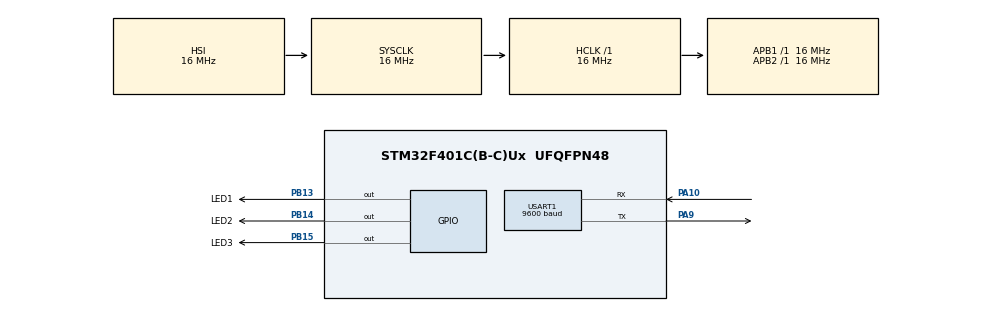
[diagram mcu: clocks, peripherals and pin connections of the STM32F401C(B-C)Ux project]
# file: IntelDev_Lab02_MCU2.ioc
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Mcu.Family=STM32F4
Mcu.Name=STM32F401C(B-C)Ux
Mcu.Package=UFQFPN48
NVIC.PriorityGroup=NVIC_PRIORITYGROUP_4
NVIC.USART1_IRQn=true\:0\:0\:false\:false\:true\:true\:true\:true
PA10.Mode=Asynchronous
PA10.Signal=USART1_RX
PA13.Mode=Serial_Wire
PA13.Signal=SYS_JTMS-SWDIO
PA14.Mode=Serial_Wire
PA14.Signal=SYS_JTCK-SWCLK
PA9.Mode=Asynchronous
PA9.Signal=USART1_TX
PB13.GPIO_Label=LED1
PB13.Signal=GPIO_Output
PB14.GPIO_Label=LED2
PB14.Signal=GPIO_Output
PB15.GPIO_Label=LED3
PB15.Signal=GPIO_Output
ProjectManager.HeapSize=0x200
ProjectManager.StackSize=0x400
ProjectManager.TargetToolchain=STM32CubeIDE
RCC.AHBFreq_Value=16000000
RCC.APB1Freq_Value=16000000
RCC.APB2Freq_Value=16000000
RCC.CortexFreq_Value=16000000
RCC.HSE_VALUE=25000000
RCC.HSI_VALUE=16000000
RCC.LSE_VALUE=32768
RCC.SYSCLKFreq_VALUE=16000000
RCC.VCOOutputFreq_Value=192000000
USART1.BaudRate=9600
USART1.VirtualMode=VM_ASYNC
board=custom

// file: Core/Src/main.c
/* USER CODE BEGIN Header */
/**
  ******************************************************************************
  * @file           : main.c
  * @brief          : Main program body
  ******************************************************************************
  * @attention
  *
  * Copyright (c) 2023 STMicroelectronics.
  * All rights reserved.
  *
  * This software is licensed under terms that can be found in the LICENSE file
  * in the root directory of this software component.
  * If no LICENSE file comes with this software, it is provided AS-IS.
  *
  ******************************************************************************
  */
/* USER CODE END Header */
#include "main.h"

/* USER CODE BEGIN Includes */
#include "ringbuffer.h"
/* USER CODE END Includes */

/* USER CODE BEGIN PD */
#define BUFF_SIZE 32
/* USER CODE END PD */

 UART_HandleTypeDef huart1;

/* USER CODE BEGIN PV */
 uint8_t rx1[1] = {'\0',};
 uint8_t tx1[1] = {'\0',};
 RingBuffer txBuf;
 uint8_t buffer[BUFF_SIZE];
 int length = 0;
/* USER CODE END PV */

void SystemClock_Config(void);
static void MX_GPIO_Init(void);
static void MX_USART1_UART_Init(void);

int main(void)
{

  /* MCU Configuration--------------------------------------------------------*/

  /* Reset of all peripherals, Initializes the Flash interface and the Systick. */
  HAL_Init();

  /* Configure the system clock */
  SystemClock_Config();

  /* Initialize all configured peripherals */
  MX_GPIO_Init();
  MX_USART1_UART_Init();

  /* Infinite loop */
  /* USER CODE BEGIN WHILE */
  HAL_UART_Receive_IT(&huart1, rx1, sizeof(rx1));
  while (1)
  {
    /* USER CODE END WHILE */

    /* USER CODE BEGIN 3 */
	  if(huart1.RxState == HAL_UART_STATE_READY)
	  {
		  HAL_UART_Receive_IT(&huart1, rx1, sizeof(rx1));
	  }
  }
  /* USER CODE END 3 */
}

void SystemClock_Config(void)
{
  RCC_OscInitTypeDef RCC_OscInitStruct = {0};
  RCC_ClkInitTypeDef RCC_ClkInitStruct = {0};

  /** Configure the main internal regulator output voltage
  */
  __HAL_RCC_PWR_CLK_ENABLE();
  __HAL_PWR_VOLTAGESCALING_CONFIG(PWR_REGULATOR_VOLTAGE_SCALE2);

  /** Initializes the RCC Oscillators according to the specified parameters
  * in the RCC_OscInitTypeDef structure.
  */
  RCC_OscInitStruct.OscillatorType = RCC_OSCILLATORTYPE_HSI;
  RCC_OscInitStruct.HSIState = RCC_HSI_ON;
  RCC_OscInitStruct.HSICalibrationValue = RCC_HSICALIBRATION_DEFAULT;
  RCC_OscInitStruct.PLL.PLLState = RCC_PLL_NONE;
  if (HAL_RCC_OscConfig(&RCC_OscInitStruct) != HAL_OK)
  {
    Error_Handler();
  }

  /** Initializes the CPU, AHB and APB buses clocks
  */
  RCC_ClkInitStruct.ClockType = RCC_CLOCKTYPE_HCLK|RCC_CLOCKTYPE_SYSCLK
                              |RCC_CLOCKTYPE_PCLK1|RCC_CLOCKTYPE_PCLK2;
  RCC_ClkInitStruct.SYSCLKSource = RCC_SYSCLKSOURCE_HSI;
  RCC_ClkInitStruct.AHBCLKDivider = RCC_SYSCLK_DIV1;
  RCC_ClkInitStruct.APB1CLKDivider = RCC_HCLK_DIV1;
  RCC_ClkInitStruct.APB2CLKDivider = RCC_HCLK_DIV1;

  if (HAL_RCC_ClockConfig(&RCC_ClkInitStruct, FLASH_LATENCY_0) != HAL_OK)
  {
    Error_Handler();
  }
}

static void MX_USART1_UART_Init(void)
{

  huart1.Instance = USART1;
  huart1.Init.BaudRate = 9600;
  huart1.Init.WordLength = UART_WORDLENGTH_8B;
  huart1.Init.StopBits = UART_STOPBITS_1;
  huart1.Init.Parity = UART_PARITY_NONE;
  huart1.Init.Mode = UART_MODE_TX_RX;
  huart1.Init.HwFlowCtl = UART_HWCONTROL_NONE;
  huart1.Init.OverSampling = UART_OVERSAMPLING_16;
  if (HAL_UART_Init(&huart1) != HAL_OK)
  {
    Error_Handler();
  }

}

static void MX_GPIO_Init(void)
{
  GPIO_InitTypeDef GPIO_InitStruct = {0};

  /* GPIO Ports Clock Enable */
  __HAL_RCC_GPIOB_CLK_ENABLE();
  __HAL_RCC_GPIOA_CLK_ENABLE();

  /*Configure GPIO pin Output Level */
  HAL_GPIO_WritePin(GPIOB, LED1_Pin|LED2_Pin|LED3_Pin, GPIO_PIN_RESET);

  /*Configure GPIO pins : LED1_Pin LED2_Pin LED3_Pin */
  GPIO_InitStruct.Pin = LED1_Pin|LED2_Pin|LED3_Pin;
  GPIO_InitStruct.Mode = GPIO_MODE_OUTPUT_PP;
  GPIO_InitStruct.Pull = GPIO_NOPULL;
  GPIO_InitStruct.Speed = GPIO_SPEED_FREQ_LOW;
  HAL_GPIO_Init(GPIOB, &GPIO_InitStruct);

}

/* USER CODE BEGIN 4 */
void HAL_UART_TxCpltCallback(UART_HandleTypeDef *huart)
{
	if(huart == &huart1)
	{
		tx1[0] = '\0';

		if(RingBuffer_GetDataLength(&txBuf) > 0)
		{
			RingBuffer_Read(&txBuf, tx1, 1);
			HAL_UART_Transmit_IT(huart, tx1, 1);
		}
	}
}

void HAL_UART_RxCpltCallback(UART_HandleTypeDef *huart)
{
	if(huart == &huart1)
	{
		tx1[0] = rx1[0];

		if(HAL_UART_Transmit_IT(&huart1, tx1, sizeof(tx1)) != HAL_OK)
		{
			if(RingBuffer_Write(&txBuf, tx1, sizeof(tx1)) != RING_BUFFER_OK)
			{
				//Problem
			}
		}

		if(rx1[0] != '\r' && length < BUFF_SIZE - 2)
		{
			buffer[length] = rx1[0];
			length++;
		}
		else
		{
			if(!strncmp(buffer, "led 1", 5))
			{
				HAL_GPIO_TogglePin(LED1_GPIO_Port, LED1_Pin);
				if(HAL_UART_Transmit_IT(&huart1, (uint8_t *)"LED 1 State Changed\r\n", sizeof("LED 1 State Changed\r\n")) != HAL_OK)
				{
					if(RingBuffer_Write(&txBuf, (uint8_t *)"LED 1 State Changed\r\n", sizeof("LED 1 State Changed\r\n")) != RING_BUFFER_OK)
					{
						//Problem
					}
				}
			}
			else if(!strncmp(buffer, "led 2", 5))
			{
				HAL_GPIO_TogglePin(LED2_GPIO_Port, LED2_Pin);
				if(HAL_UART_Transmit_IT(&huart1, (uint8_t *)"LED 2 State Changed\r\n", sizeof("LED 2 State Changed\r\n")) != HAL_OK)
				{
					if(RingBuffer_Write(&txBuf, (uint8_t *)"LED 2 State Changed\r\n", sizeof("LED 2 State Changed\r\n")) != RING_BUFFER_OK)
					{
						//Problem
					}
				}
			}
			else if(!strncmp(buffer, "led 3", 5))
			{
				HAL_GPIO_TogglePin(LED3_GPIO_Port, LED3_Pin);
				if(HAL_UART_Transmit_IT(&huart1, (uint8_t *)"LED 3 State Changed\r\n", sizeof("LED 3 State Changed\r\n")) != HAL_OK)
				{
					if(RingBuffer_Write(&txBuf, (uint8_t *)"LED 3 State Changed\r\n", sizeof("LED 3 State Changed\r\n")) != RING_BUFFER_OK)
					{
						//Problem
					}
				}
			}
			memset(buffer, 0, sizeof(buffer));
			length = 0;
			HAL_UART_Transmit_IT(&huart1, "\n\r", 2);
		}

		HAL_UART_Receive_IT(&huart1, rx1, sizeof(rx1));
	}
}
/* USER CODE END 4 */

void Error_Handler(void)
{
  __disable_irq();
  while (1)
  {
  }
}
